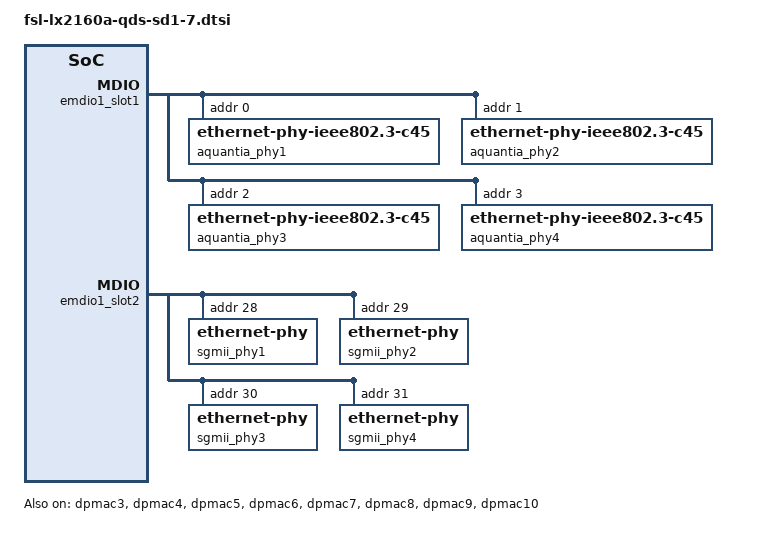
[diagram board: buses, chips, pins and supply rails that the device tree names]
// SPDX-License-Identifier: GPL-2.0+ OR X11
/*
 * NXP LX2160AQDS device tree source for the SERDES block #1 - protocol 7
 *
 * Some assumptions are made:
 *    * mezzanine card M11 is connected to IO SLOT1 (usxgmii for DPMAC 3,4,5,6)
 *    * mezzanine card M1/M4 is connected to IO SLOT2 (sgmii for DPMAC 7,8,9,10)
 *
 * Copyright 2020 NXP
 *
 */
#include "fsl-lx2160a-qds.dtsi"

&dpmac3 {
	status = "okay";
	phy-handle = <&aquantia_phy1>;
	phy-connection-type = "usxgmii";
};

&dpmac4 {
	status = "okay";
	phy-handle = <&aquantia_phy2>;
	phy-connection-type = "usxgmii";
};

&dpmac5 {
	status = "okay";
	phy-handle = <&aquantia_phy3>;
	phy-connection-type = "usxgmii";
};

&dpmac6 {
	status = "okay";
	phy-handle = <&aquantia_phy4>;
	phy-connection-type = "usxgmii";
};

&dpmac7 {
	status = "okay";
	phy-handle = <&sgmii_phy1>;
	phy-connection-type = "sgmii";
};

&dpmac8 {
	status = "okay";
	phy-handle = <&sgmii_phy2>;
	phy-connection-type = "sgmii";
};

&dpmac9 {
	status = "okay";
	phy-handle = <&sgmii_phy3>;
	phy-connection-type = "sgmii";
};

&dpmac10 {
	status = "okay";
	phy-handle = <&sgmii_phy4>;
	phy-connection-type = "sgmii";
};

&emdio1_slot1 {
	aquantia_phy1: ethernet-phy@4 {
		compatible = "ethernet-phy-ieee802.3-c45";
		reg = <0x0>;
	};

	aquantia_phy2: ethernet-phy@5 {
		compatible = "ethernet-phy-ieee802.3-c45";
		reg = <0x1>;
	};

	aquantia_phy3: ethernet-phy@6 {
		compatible = "ethernet-phy-ieee802.3-c45";
		reg = <0x2>;
	};

	aquantia_phy4: ethernet-phy@7 {
		compatible = "ethernet-phy-ieee802.3-c45";
		reg = <0x3>;
	};
};

&emdio1_slot2 {
	sgmii_phy1: ethernet-phy@1c {
		reg = <0x1c>;
	};

	sgmii_phy2: ethernet-phy@1d {
		reg = <0x1d>;
	};

	sgmii_phy3: ethernet-phy@1e {
		reg = <0x1e>;
	};

	sgmii_phy4: ethernet-phy@1f {
		reg = <0x1f>;
	};
};
